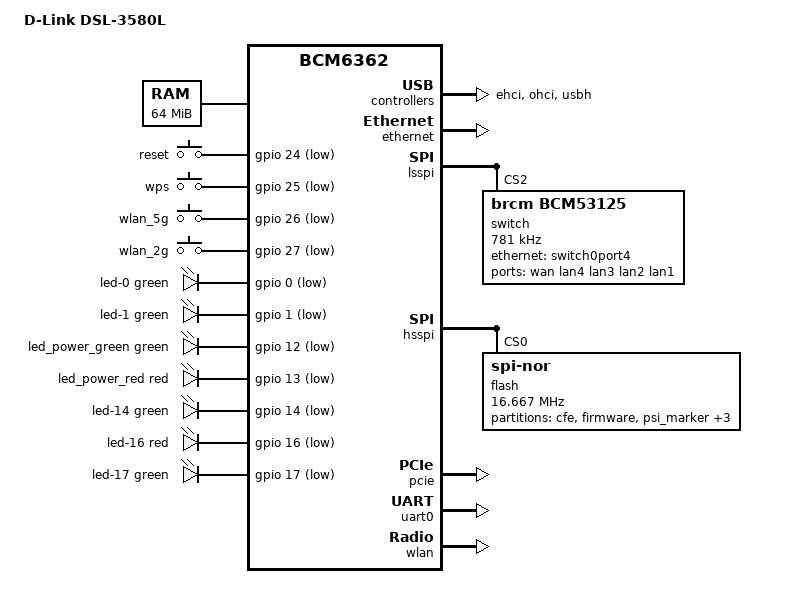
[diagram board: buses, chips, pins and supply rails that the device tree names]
// SPDX-License-Identifier: GPL-2.0-or-later

#include "bcm6362.dtsi"

#include <dt-bindings/input/input.h>
#include <dt-bindings/interrupt-controller/irq.h>
#include <dt-bindings/leds/common.h>

/ {
	model = "D-Link DSL-3580L";
	compatible = "dlink,dsl-3580l", "brcm,bcm6362";

	aliases {
		led-boot = &led_power_green;
		led-failsafe = &led_power_red;
		led-running = &led_power_green;
		led-upgrade = &led_power_green;
	};

	/* 64 MB DDR */
	memory@0 {
		device_type = "memory";
		reg = <0x00000000 0x04000000>;
	};

	keys {
		compatible = "gpio-keys";

		/*
		 * The four front-panel buttons of the DSL-3580L are wired to
		 * the four GPIO pads that the SoC also exposes as the
		 * ext_irq0..3 alternate function inputs of the external
		 * interrupt controller (brcm,bcm6345-ext-intc).
		 */

		reset {
			label = "reset";
			gpios = <&gpio 24 GPIO_ACTIVE_LOW>;
			interrupt-parent = <&ext_intc>;
			interrupts = <0 IRQ_TYPE_EDGE_BOTH>;
			linux,code = <KEY_RESTART>;
			debounce-interval = <60>;
		};

		wps {
			label = "wps";
			gpios = <&gpio 25 GPIO_ACTIVE_LOW>;
			interrupt-parent = <&ext_intc>;
			interrupts = <1 IRQ_TYPE_EDGE_BOTH>;
			linux,code = <KEY_WPS_BUTTON>;
			debounce-interval = <60>;
		};

		wlan_5g {
			label = "wlan_5g";
			gpios = <&gpio 26 GPIO_ACTIVE_LOW>;
			interrupt-parent = <&ext_intc>;
			interrupts = <2 IRQ_TYPE_EDGE_BOTH>;
			linux,code = <KEY_RFKILL>;
			debounce-interval = <60>;
		};

		wlan_2g {
			label = "wlan_2g";
			gpios = <&gpio 27 GPIO_ACTIVE_LOW>;
			interrupt-parent = <&ext_intc>;
			interrupts = <3 IRQ_TYPE_EDGE_BOTH>;
			linux,code = <KEY_WLAN>;
			debounce-interval = <60>;
		};
	};

	leds {
		compatible = "gpio-leds";

		/*
		 * The stock CFE muxes GPIO 0 to the "usb_device_led"
		 * hardware function of the SoC (see BP_GPIO_FUNC in the
		 * boardparms). Here it is a plain GPIO: the hardware
		 * auto-blink is lost, but OpenWrt can use the usbport
		 * trigger.
		 */
		led-0 {
			function = LED_FUNCTION_USB;
			color = <LED_COLOR_ID_GREEN>;
			gpios = <&gpio 0 GPIO_ACTIVE_LOW>;
			trigger-sources = <&ehci_port1>, <&ohci_port1>;
			linux,default-trigger = "usbport";
		};

		led-1 {
			function = LED_FUNCTION_WPS;
			color = <LED_COLOR_ID_GREEN>;
			gpios = <&gpio 1 GPIO_ACTIVE_LOW>;
		};

		led_power_green: led-12 {
			function = LED_FUNCTION_POWER;
			color = <LED_COLOR_ID_GREEN>;
			gpios = <&gpio 12 GPIO_ACTIVE_LOW>;
		};

		led_power_red: led-13 {
			function = LED_FUNCTION_POWER;
			color = <LED_COLOR_ID_RED>;
			gpios = <&gpio 13 GPIO_ACTIVE_LOW>;
			panic-indicator;
		};

		led-14 {
			function = "dsl";
			color = <LED_COLOR_ID_GREEN>;
			gpios = <&gpio 14 GPIO_ACTIVE_LOW>;
		};

		led-16 {
			function = LED_FUNCTION_WAN;
			color = <LED_COLOR_ID_RED>;
			gpios = <&gpio 16 GPIO_ACTIVE_LOW>;
		};

		led-17 {
			function = LED_FUNCTION_WAN;
			color = <LED_COLOR_ID_GREEN>;
			gpios = <&gpio 17 GPIO_ACTIVE_LOW>;
		};
	};

	/*
	 * Fallback SPROM for the 2.4 GHz radio integrated in the BCM6362
	 * (chip 14e4:435f). It starts from the canonical blob
	 * `brcm/bcm6362-sprom.bin` provided by the `broadcom-6362-sprom`
	 * package (openwrt/broadcom-sprom repository) and applies the
	 * board-specific fixups through brcm,sprom-fixups.
	 *
	 * The integrated radio is not on PCIe: it sits on the bcma
	 * AXI/OCP backplane of the SoC, exposed by the bcm6362-wlan-shim
	 * driver (see the &wlan node in bcm6362.dtsi). The SPROM is
	 * matched by phandle (bcma-bus = <&wlan>), not by
	 * pci-bus/pci-dev. See the SoC extension in
	 * target/linux/generic/files/drivers/bcma/fallback-sprom.c.
	 *
	 * Applied fixups (38 words, obtained with diff_sprom.py by
	 * comparing the `wl srdump` dump of the DSL-3580L with the
	 * canonical blob):
	 *
	 *  - 0x30 (dev_id): the canonical blob has 0x4354 but the OEM
	 *    stock firmware presents device id 0x435f to the wireless
	 *    stack; b43 knows 0x435f (BCM6362) in main.c:5328. On the
	 *    old fake-PCI path the synthetic config space hard-coded
	 *    0x435f and b43 read it from there without going through
	 *    the SPROM; on bcma host-soc b43 reads bus_sprom->dev_id,
	 *    so it has to be realigned with a fixup.
	 *  - 0x60..0x7e: PA calibration of chains 0/1 for the 2.4 and
	 *    5 GHz bands (this chip has a dual-band PHY even though the
	 *    DSL-3580L only uses 2.4 GHz; the coefficients are those of
	 *    the board silicon).
	 *  - 0xa0..0xb0: MCS/CCK/OFDM power offsets per modulation.
	 */
	bcm6362-sprom {
		compatible = "brcm,bcma-sprom";

		bcma-bus = <&wlan>;

		nvmem-cells = <&macaddr_cfe_6a0 1>;
		nvmem-cell-names = "mac-address";

		brcm,sprom = "brcm/bcm6362-sprom.bin";
		brcm,sprom-fixups =
			/* dev_id override */
			<0x30 0x435f>,
			/* PA chains 0/1, 2.4 GHz band */
			<0x60 0x204a>, <0x61 0xff71>, <0x62 0x1740>, <0x63 0xfb17>,
			<0x66 0xfe35>, <0x67 0x10cf>, <0x68 0xfb89>,
			<0x69 0xfeac>, <0x6a 0x12dd>, <0x6b 0xfb7f>,
			<0x6c 0xfe4a>, <0x6d 0x10fe>, <0x6e 0xfb95>,
			/* PA chains 0/1, 5 GHz band (dual-band PHY) */
			<0x70 0x204a>, <0x71 0xff81>, <0x72 0x1784>, <0x73 0xfb1b>,
			<0x76 0xfedc>, <0x77 0x1246>, <0x78 0xfbc4>,
			<0x79 0xff44>, <0x7a 0x135b>, <0x7b 0xfbfd>,
			<0x7c 0xfebb>, <0x7d 0x127b>, <0x7e 0xfba3>,
			/* power offset MCS/CCK/OFDM */
			<0xa0 0x0000>, <0xa1 0x4444>, <0xa2 0x4444>,
			<0xa9 0x6666>, <0xaa 0x6666>, <0xab 0x6666>,
			<0xac 0x6666>, <0xad 0x6666>, <0xae 0x6666>,
			<0xaf 0x6666>, <0xb0 0x6666>;
	};

	/*
	 * Fallback SPROM for the 5 GHz BCM4352 radio (chip 14e4:43b3)
	 * on PCIe.
	 *
	 * The BCM4352 is in practice a BCM4360 with two of the four RF
	 * chains disabled (2x2 instead of 3x3/4x4) for yield binning:
	 * same die, same PHY, same OTP layout and therefore the same
	 * SROM rev 11 structure. The proprietary `wl` driver does not
	 * ship a dedicated fallback for the 4352 for this very reason:
	 * it uses the 4360 template. The same strategy is used here:
	 * the canonical blob `brcm/bcm4360-sprom.bin` from the
	 * `broadcom-4360-sprom` package plus 35 board-specific
	 * brcm,sprom-fixups.
	 *
	 * PCI topology under mainline OpenWrt: the BCM4352 is the only
	 * device on PCIe (pcie-bcm6328 controller); the integrated radio
	 * is NOT enumerated as PCI but as a bcma device on the SoC
	 * backplane (see bcm6362-sprom above).
	 *
	 *   bus 0:00.0  [14e4:6362]  PCIe Root Port (pcie-bcm6328)
	 *   bus 1:00.0  [14e4:43b3]  BCM4352 (5 GHz)              <- this node
	 *
	 * Applied fixups (35 words, obtained with diff_sprom.py by
	 * comparing the 4352 dump of the DSL-3580L with the canonical
	 * bcm4360-sprom.bin blob):
	 *
	 *  - 0x02: board revision.
	 *  - 0x30: dev_id 0x43a2 (4360) -> 0x43b3 (4352).
	 *  - 0x48..0x4a: board flags / option flags.
	 *  - 0x50, 0x54: chain mask / antenna avail: this is where the
	 *    two extra chains of the 4360 are disabled (the 2x2 vs
	 *    3x3/4x4 difference mentioned above).
	 *  - 0x68..0x6a: power info of cores 2/3 cleared (disabled
	 *    chains).
	 *  - 0x74..0x93: PA calibration of chains 0/1 for the 5G L/H
	 *    bands, board-specific.
	 *  - 0xe9: last word = CRC + sromrev; rev 0x0b matches, and the
	 *    CRC is not checked by the fallback-sprom path anyway (see
	 *    sprom_extract() in
	 *    target/linux/generic/files/drivers/bcma/fallback-sprom.c).
	 *
	 * Kernel dependency: the SROM rev 11 patch (the
	 * `bcma_sprom_extract_r11` extractor plus the rev-11-only fields
	 * added to `struct ssb_sprom`) must be applied to the OpenWrt
	 * kernel. See target/linux/bmips/patches-6.12/
	 * 801-ssb-bcma-firmware-SROM-revision-11-support.patch.
	 */
	bcm4352-sprom {
		compatible = "brcm,bcma-sprom";

		pci-bus = <1>;
		pci-dev = <0>;

		nvmem-cells = <&macaddr_cfe_6a0 2>;
		nvmem-cell-names = "mac-address";

		brcm,sprom = "brcm/bcm4360-sprom.bin";
		brcm,sprom-fixups =
			<0x02 0x0668>,
			/* dev_id 4360 -> 4352 */
			<0x30 0x43b3>,
			/* board flags */
			<0x48 0x0090>, <0x49 0x4c0d>, <0x4a 0xdb00>,
			/* chain mask 4x4 -> 2x2 + antenna avail */
			<0x50 0x0300>, <0x54 0x0033>,
			/* power info core 2/3 disabled */
			<0x68 0x0000>, <0x69 0x0000>, <0x6a 0x0000>,
			/* PA chains 0/1, 5G L band */
			<0x74 0xff4d>, <0x75 0x1690>, <0x76 0xfd24>,
			<0x77 0xff59>, <0x78 0x1710>, <0x79 0xfd28>,
			<0x7a 0xff52>, <0x7b 0x16fd>, <0x7c 0xfd27>,
			<0x7d 0xff55>, <0x7e 0x1711>, <0x7f 0xfd20>,
			/* PA chains 0/1, 5G H band */
			<0x88 0xff3f>, <0x89 0x1607>, <0x8a 0xfd1f>,
			<0x8b 0xff42>, <0x8c 0x1690>, <0x8d 0xfd21>,
			<0x8e 0xff55>, <0x8f 0x1772>, <0x90 0xfd1e>,
			<0x91 0xff5d>, <0x92 0x178d>, <0x93 0xfd1e>,
			/* sromrev word (the CRC differs but the
			 * fallback-sprom path does not check it; the low
			 * byte 0x0b == rev 11 matches the template) */
			<0xe9 0x2f0b>;
	};
};

&ehci {
	status = "okay";

	#address-cells = <1>;
	#size-cells = <0>;

	ehci_port1: port@1 {
		reg = <1>;
		#trigger-source-cells = <0>;
	};
};

&ethernet {
	status = "okay";

	nvmem-cells = <&macaddr_cfe_6a0 0>;
	nvmem-cell-names = "mac-address";
};

/*
 * lsspi CS=2 (boardparms: BP_OVERLAY_SPI_SSB2_EXT_CS + BP_ENET_CONFIG_SPI_SSB_2).
 *
 * labels for boardparms:
 *   port 0  -> eth0  -> WAN
 *   port 1  -> eth4  -> LAN4
 *   port 2  -> eth3  -> LAN3
 *   port 3  -> eth2  -> LAN2
 *   port 4  -> eth1  -> LAN1
 */
&lsspi {
	status = "okay";

	pinctrl-names = "default";
	pinctrl-0 = <&pinctrl_spi_cs2>;

	switch@2 {
		compatible = "brcm,bcm53125";
		reg = <2>;
		spi-max-frequency = <781000>;

		dsa,member = <1 0>;

		ports {
			#address-cells = <1>;
			#size-cells = <0>;

			port@0 {
				reg = <0>;
				label = "wan";
			};

			port@1 {
				reg = <1>;
				label = "lan4";
			};

			port@2 {
				reg = <2>;
				label = "lan3";
			};

			port@3 {
				reg = <3>;
				label = "lan2";
			};

			port@4 {
				reg = <4>;
				label = "lan1";
			};

			port@8 {
				reg = <8>;

				phy-mode = "rgmii-id";
				ethernet = <&switch0port4>;

				fixed-link {
					speed = <1000>;
					full-duplex;
				};
			};
		};
	};
};

/*
 * Flash SPI-NOR MX25L128 16 MB single-bank. No dual boot
 */
&hsspi {
	status = "okay";

	flash@0 {
		compatible = "jedec,spi-nor";
		reg = <0>;
		spi-max-frequency = <16666667>;
		spi-tx-bus-width = <2>;
		spi-rx-bus-width = <2>;

		partitions {
			compatible = "fixed-partitions";
			#address-cells = <1>;
			#size-cells = <1>;

			partition@0 {
				reg = <0x000000 0x010000>;
				label = "cfe";
				read-only;

				nvmem-layout {
					compatible = "fixed-layout";
					#address-cells = <1>;
					#size-cells = <1>;

					/*
					 * Offset MAC base 0x6a0 is default
					 * in Broadcom CFE
					 *
					 *   base + 0  ->  D8:FE:E3:E2:A1:3C
					 *                 LAN/bridge (bcmsw, br0,
					 *                 eth1..eth4 on the switch side)
					 *   base + 1  ->  D8:FE:E3:E2:A1:3D
					 *                 wl0 (2.4 GHz N-PHY)
					 *   base + 2  ->  D8:FE:E3:E2:A1:3E
					 *                 wl1 (5 GHz AC-PHY)
					 *   base + 3  ->  D8:FE:E3:E2:A1:3F
					 *                 WAN dedicato (eth0)
					 */
					macaddr_cfe_6a0: macaddr@6a0 {
						compatible = "mac-base";
						reg = <0x6a0 0x6>;
						#nvmem-cell-cells = <1>;
					};
				};
			};

			/*
			 * 7.5 MB rootfs + 1.4 MB kernel,
			 * rootfs first in the original firmware.
			 */
			partition@10000 {
				compatible = "brcm,bcm963xx-imagetag";
				reg = <0x010000 0x8b0000>;
				label = "firmware";
			};

			/*
			 * psi_marker: 0x8c0000 - 0x8d0000 (64 KiB).
			 * 13 byte filled near the start
			 * (35 ea 91 b4 92 23 be 73 98 e4 bd 5a 9a),
			 * followed by erased blocks
			 * Read-only just because.
			 */
			partition@8c0000 {
				reg = <0x8c0000 0x010000>;
				label = "psi_marker";
				read-only;
			};

			/*
			 * scratch: 0x8e0000 - 0xff0000.
			 * Erased blocks (0xff) in stock flash.
			 */
			partition@8e0000 {
				reg = <0x8e0000 0x710000>;
				label = "scratch";
			};
			/*
			 * nvram_pad: 0xff0000 - 0xff8000 (32 KiB).
			 * Erased sectors right before the Broadcom NVRAM.
			 * Probably padding left by the factory flashing
			 * tool to align the NVRAM to a block boundary.
			 * Read-only to be conservative: it is unknown
			 * whether the OEM firmware uses it as scratch
			 * space across reboots.
			 */
			partition@ff0000 {
				reg = <0xff0000 0x008000>;
				label = "nvram_pad";
				read-only;
			};

			/*
			 * nvram: 0xff8000 - 0x1000000 (32 KiB).
			 * Broadcom PSI NVRAM (Persistent Storage Image),
			 * magic "gOGoBrCm" + "BLP0" header. It holds the
			 * LZW-compressed OEM user configuration
			 * (snmp_state, tr69c_acsState, etc.) with a CRC32.
			 * It is independent of the NVRAM_DATA struct
			 * embedded in CFE at offset 0x580 (where the MAC
			 * comes from): this one is the runtime user
			 * configuration, the one in CFE is set at the
			 * factory.
			 *
			 * Read-only: altering it does not brick the device,
			 * but it confuses the stock firmware if one ever
			 * goes back to it.
			 */
			partition@ff8000 {
				reg = <0xff8000 0x008000>;
				label = "nvram";
				read-only;
			};
		};
	};
};

/*
 * Cascaded DSA. On the BCM6362 the RGMII output path goes through
 * port@4 of the internal switch (RoboSwitch at 0x10e00000), as
 * confirmed by the Broadcom OEM boardparms for "DSL-3580":
 *
 *     {bp_ulPortMap,  .u.ul = 0x10},                   // port@4 only
 *     {bp_ulPhyId4,   .u.ul = RGMII_DIRECT|EXTSW_CONNECTED},
 *
 * Layout:
 *   PC -- LAN N -- [external BCM53125] -- port@8 RGMII --
 *   port@4 RGMII -- [internal &switch0] -- port@8 internal --
 *   [&ethernet GMAC] -- eth0
 *
 * Two DSA trees with a single conduit (eth0): tree 0 = internal
 * switch, tree 1 = external 53125 anchored to &switch0port4. Same
 * layout as the HG253S-V2 in mainline OpenWrt, which shares the SoC.
 *
 * History of the previous attempts on this block:
 *
 * 1) &switch0 enabled + 53125 anchored to &ethernet:
 *    sysfs: cannot create duplicate filename '.../eth0/dsa'
 *    b53-switch 10e00000.switch: probe ... failed with error -17
 *    Dangling notifiers after the failed rollback of
 *    dsa_register_switch -> kernel panic ("Reserved instruction",
 *    PC in the heap) at the first netdev event.
 *
 * 2) &switch0 status="disabled":
 *    No panic, but eth0 rx_packets stuck at 0 even with the PHYs
 *    linked on the LAN ports: the RGMII path goes through a
 *    switch that is off, so frames never reach the GMAC.
 */
&switch0 {
	dsa,member = <0 0>;

	ports {
		switch0port4: port@4 {
			reg = <4>;
			label = "extsw";

			phy-mode = "rgmii-id";

			fixed-link {
				speed = <1000>;
				full-duplex;
			};
		};
	};
};

&ohci {
	status = "okay";

	#address-cells = <1>;
	#size-cells = <0>;

	ohci_port1: port@1 {
		reg = <1>;
		#trigger-source-cells = <0>;
	};
};

&pcie {
	status = "okay";
};

&uart0 {
	status = "okay";
};

&usbh {
	status = "okay";
};

/*
 * Integrated 2.4 GHz radio of the BCM6362 (14e4:435f).
 *
 * Exposed by bcm6362-wlan-shim on the bcma SoC backplane, NOT
 * through PCI. The SPROM is provided by bcm6362-sprom above,
 * matched by phandle (bcma-bus = <&wlan>).
 */
&wlan {
	status = "okay";
};
